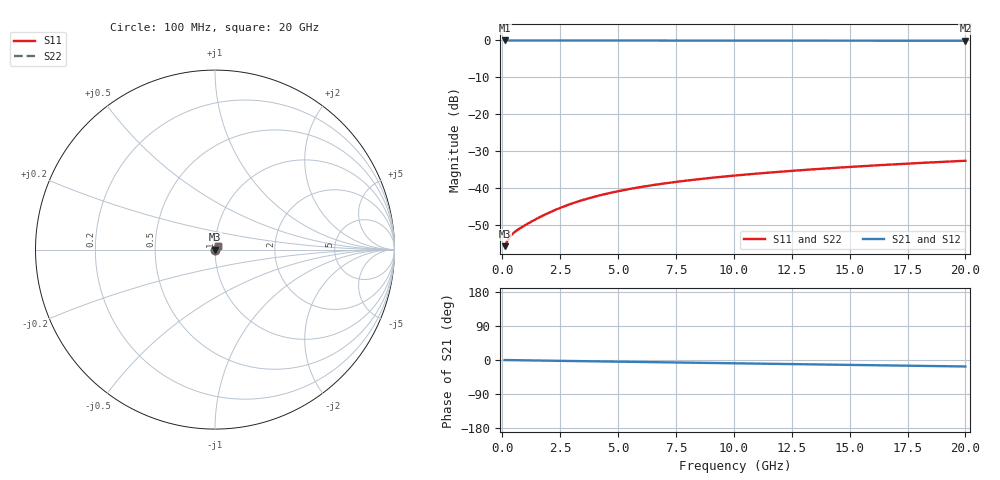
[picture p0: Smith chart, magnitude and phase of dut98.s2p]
! Touchstone file exported from HFSS 2026.1.0
!  File:  C:/ffzhzh/LocalFiles/Ansys_Project_Files/temp_train_BSMRDL_98_1782883365_42304.aedt
!  Generated:  01:23:54 PM Jul  1, 2026
!  Design:  BSMRDL
!  Project:  temp_train_BSMRDL_98_1782883365_42304
! Variables:
!  h_bsmrdl = 4.51um
!  h_ox = 20um
!  h_rdl = 5um
!  h_sub = 80um
!  h_tmrdl = 5um
!  h_tsv = 80um
!  h_via = 3um
!  l_bsmrdl = 302.64um
!  l_sub = 702.64um
!  l_tmrdl = 200um
!  m_sub = 200um
!  pitch = 21.76um
!  r_tsv = 6um
!  s_tmrdl = 10um
!  w_bsmrdl = 16.95um
!  w_sub = 500um
!  w_tmrdl = 12um
!  x_tsv_center1 = 206um
!  x_tsv_center2 = 525.59um
!  x_tsv_center3 = 737.59um
!  x_tsv_center4 = 1057.18um
!  x_tsv_center5 = 1269.18um
!  x_tsv_center6 = 1588.77um
# GHz S MA R 50.000000
! Terminal data exported
! Port[1] = BSM_RDL1_1_T1
! Port[2] = BSM_RDL1_1_T2
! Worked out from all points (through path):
!   200 points, 100 MHz to 20 GHz, reference 50 ohm
!   highest |S21| = -0.01 dB at 100 MHz (marker M1); lowest = -0.1 dB at 20 GHz (marker M2)
!   group delay of S21, straight-line fit = 2.37 ps
!   lowest |S11| = -55.7 dB at 100 MHz (marker M3), VSWR 1.00, Z = 50.2 + j0.0408 ohm
!   |S11| at or under -10 dB: start of sweep to end of sweep
!   |S22| runs from -55.7 to -32.6 dB; largest |S21 - S12| = 3.2e-15
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0.1  0.001636 14.4  0.9984 -0.1  0.9984 -0.1  0.001636 14.4
! Gamma 0 0 0 0
! Port Impedance 50 0 50 0
0.2  0.001883 22.7  0.9983 -0.2  0.9983 -0.2  0.001883 22.7
0.3  0.002124 26.9  0.9981 -0.3  0.9981 -0.3  0.002124 26.9
0.4  0.002325 29.3  0.998 -0.4  0.998 -0.4  0.002325 29.3
0.5  0.002491 31.3  0.9979 -0.5  0.9979 -0.5  0.002491 31.3
0.6  0.002636 33.2  0.9978 -0.6  0.9978 -0.6  0.002636 33.2
0.8  0.002902 36.8  0.9977 -0.7  0.9977 -0.7  0.002903 36.8
1  0.003165 40.2  0.9976 -0.9  0.9976 -0.9  0.003165 40.2
1.6  0.004011 48.1  0.9974 -1.4  0.9974 -1.4  0.004012 48.1
2.2  0.004928 52.8  0.9971 -2.0  0.9971 -2.0  0.004928 52.7
2.8  0.005862 55.3  0.9969 -2.5  0.9969 -2.5  0.005863 55.2
3.5  0.006934 56.6  0.9965 -3.1  0.9965 -3.1  0.006935 56.6
4.2  0.007962 57.1  0.9961 -3.7  0.9961 -3.7  0.007964 57.1
5  0.009073 57.0  0.9956 -4.4  0.9956 -4.4  0.009075 57.0
5.9  0.01024 56.6  0.9951 -5.2  0.9951 -5.2  0.01024 56.6
6.8  0.01133 56.1  0.9946 -6.0  0.9946 -6.0  0.01134 56.0
8.3  0.01301 55.1  0.9939 -7.3  0.9939 -7.3  0.01301 55.0
10.1  0.01485 53.9  0.9931 -8.8  0.9931 -8.8  0.01486 53.9
11.7  0.01638 53.0  0.9924 -10.1  0.9924 -10.1  0.0164 52.9
13.4  0.01794 52.0  0.9918 -11.6  0.9918 -11.6  0.01795 51.9
16.7  0.02078 50.1  0.9907 -14.3  0.9907 -14.3  0.02081 50.0
20  0.02347 48.1  0.9898 -17.1  0.9898 -17.1  0.0235 47.9
